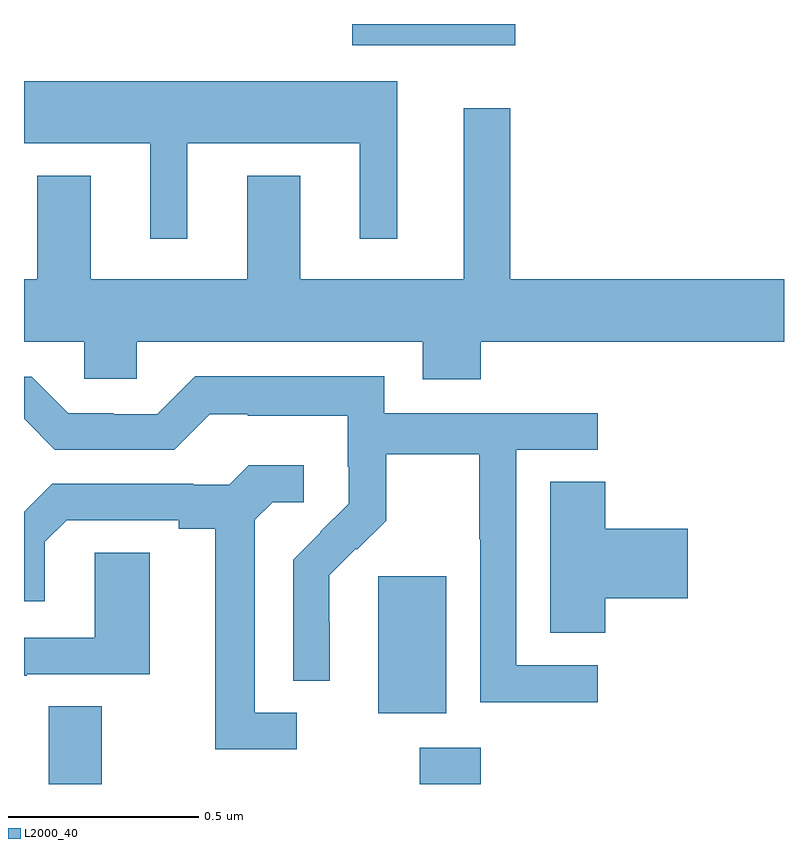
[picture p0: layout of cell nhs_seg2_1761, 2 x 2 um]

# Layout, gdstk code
import gdstk
lib = gdstk.Library(unit=1e-6, precision=1e-09)
def R(c, l, rs):  # rectangles x0, y0, x1, y1
    for r in rs: c.add(gdstk.rectangle(r[:2], r[2:], *l))
def P(c, l, *ps):  # polygons
    for p in ps: c.add(gdstk.Polygon(p, *l))
L2000_40 = (2000, 40)

nhs_seg2_1761 = lib.new_cell('nhs_seg2_1761')
R(nhs_seg2_1761, L2000_40, [(132.065,651.8,132.205,652.004), (133.042,651.8,133.202,651.895), (132.932,651.986,133.111,652.347), (132.864,653.744,133.293,653.8)])
P(nhs_seg2_1761, L2000_40, [(132.43,653.486),(132.884,653.486),(132.884,653.235),(132.982,653.235),(132.982,653.65),(132,653.65),(132,653.486),(132.332,653.486),(132.332,653.235),(132.43,653.235)],
  [(133.202,652.964),(134,652.964),(134,653.128),(133.279,653.128),(133.279,653.578),(133.157,653.578),(133.157,653.128),(132.727,653.128),(132.727,653.401),(132.587,653.401),(132.587,653.128),(132.175,653.128),(132.175,653.401),(132.035,653.401),(132.035,653.128),(132,653.128),(132,652.964),(132.159,652.964),(132.159,652.866),(132.297,652.866),(132.297,652.964),(133.049,652.964),(133.049,652.865),(133.202,652.865)],
  [(133.51,652.113),(133.296,652.113),(133.296,652.68),(133.51,652.68),(133.51,652.776),(132.948,652.776),(132.948,652.873),(132.451,652.873),(132.351,652.773),(132.236,652.773),(132.236,652.776),(132.117,652.776),(132.021,652.872),(132,652.872),(132,652.761),(132.081,652.68),(132.396,652.68),(132.489,652.773),(132.589,652.773),(132.589,652.769),(132.852,652.769),(132.852,652.635),(132.854,652.635),(132.854,652.538),(132.78,652.464),(132.781,652.463),(132.708,652.39),(132.708,652.072),(132.804,652.072),(132.804,652.226),(132.803,652.226),(132.803,652.349),(132.873,652.419),(132.876,652.416),(132.953,652.493),(132.953,652.668),(133.198,652.668),(133.198,652.444),(133.2,652.444),(133.2,652.015),(133.51,652.015)],
  [(132.718,651.987),(132.607,651.987),(132.607,652.495),(132.654,652.542),(132.736,652.542),(132.736,652.639),(132.592,652.639),(132.54,652.587),(132.446,652.587),(132.446,652.59),(132.074,652.59),(132,652.516),(132,652.281),(132.055,652.281),(132.055,652.437),(132.112,652.494),(132.407,652.494),(132.407,652.472),(132.503,652.472),(132.503,651.891),(132.718,651.891)],
  [(133.529,652.289),(133.747,652.289),(133.747,652.472),(133.529,652.472),(133.529,652.595),(133.385,652.595),(133.385,652.198),(133.529,652.198)],
  [(132.007,652.089),(132.331,652.089),(132.331,652.409),(132.186,652.409),(132.186,652.185),(132,652.185),(132,652.085),(132.007,652.085)])

lib.write_gds('nhs_seg2_1761.gds')
